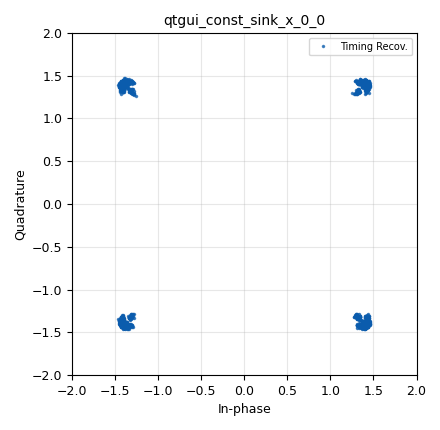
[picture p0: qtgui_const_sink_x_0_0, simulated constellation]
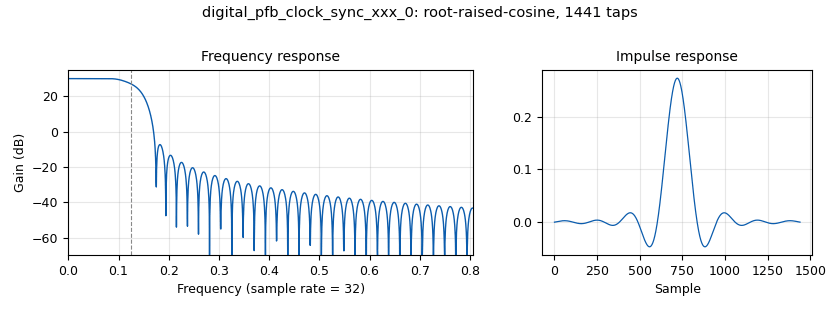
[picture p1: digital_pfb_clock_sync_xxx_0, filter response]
options:
  parameters:
    author: beast
    generate_options: qt_gui
    id: QAM_attempt
    output_language: python
    title: USRP TX 16QAM
  states: {}

blocks:
- name: arity
  id: variable
  parameters:
    value: '4'
  states: {}
- name: excess_bw
  id: variable
  parameters:
    value: '0.35'
  states: {}
- name: freq_offset
  id: variable_qtgui_range
  parameters:
    gui_hint: 0,1,1,1
    label: Frequency Offset
    start: '-0.1'
    step: '0.001'
    stop: '0.1'
    value: '0'
  states: {state: disabled}
- name: nfilts
  id: variable
  parameters:
    value: '32'
  states: {}
- name: noise_volt
  id: variable_qtgui_range
  parameters:
    gui_hint: 0,0,1,1
    label: Noise Voltage
    start: '0'
    step: '0.01'
    stop: '1'
    value: '0.0001'
  states: {state: disabled}
- name: qpsk
  id: variable_constellation_rect
  parameters:
    const_points: '[1+1j, -1+1j, -1-1j, 1-1j]'
    imag_sect: '2'
    real_sect: '2'
    rot_sym: '4'
    sym_map: '[0, 1, 2, 3]'
    w_imag_sect: '1'
    w_real_sect: '1'
  states: {state: disabled}
- name: rrc_taps
  id: variable
  parameters:
    value: firdes.root_raised_cosine(nfilts, nfilts, 1.0/float(sps), 0.35, 45*nfilts)
  states: {}
- name: samp_rate
  id: variable
  parameters:
    value: '32000'
  states: {}
- name: sps
  id: variable
  parameters:
    value: '4'
  states: {}
- name: taps
  id: variable
  parameters:
    value: '[1.0 + 0.0j, ]'
  states: {}
- name: time_offset
  id: variable_qtgui_range
  parameters:
    gui_hint: 0,2,1,1
    label: Timing Offset
    start: '0.999'
    step: '0.0001'
    stop: '1.001'
    value: '1.00'
  states: {state: disabled}
- name: timing_loop_bw
  id: variable_qtgui_range
  parameters:
    gui_hint: 0,3,1,1
    label: 'Time: BW'
    start: '0.0'
    step: '0.01'
    stop: '0.2'
    value: 6.28/100.0
    widget: slider
  states: {}
- name: variable_constellation_1
  id: variable_constellation
  parameters:
    precision: '8'
    type: qpsk
  states: {}
- name: variable_constellation_rect_0
  id: variable_constellation_rect
  parameters:
    const_points: '[-1-1j, -1+1j, 1+1j, 1-1j]'
    imag_sect: '2'
    real_sect: '2'
    rot_sym: '4'
    sym_map: '[0, 1, 3, 2]'
    w_imag_sect: '1'
    w_real_sect: '1'
  states: {state: disabled}
- name: analog_random_source_x_0
  id: analog_random_source_x
  parameters:
    max: '16'
    min: '0'
    num_samps: '10000'
    repeat: 'True'
    type: byte
  states: {}
- name: blocks_throttle2_0_0
  id: blocks_throttle2
  parameters:
    samples_per_second: samp_rate
    type: complex
  states: {state: disabled}
- name: digital_constellation_modulator_0
  id: digital_constellation_modulator
  parameters:
    constellation: variable_constellation_1
    differential: 'True'
    excess_bw: excess_bw
    samples_per_symbol: sps
  states: {}
- name: digital_pfb_clock_sync_xxx_0
  id: digital_pfb_clock_sync_xxx
  parameters:
    filter_size: nfilts
    init_phase: nfilts/2
    loop_bw: timing_loop_bw
    max_dev: '1.5'
    osps: '1'
    sps: sps*1.001
    taps: rrc_taps
    type: ccf
  states: {}
- name: digital_pfb_clock_sync_xxx_0_0
  id: digital_pfb_clock_sync_xxx
  parameters:
    filter_size: nfilts
    init_phase: nfilts/2
    loop_bw: timing_loop_bw
    max_dev: '1.5'
    osps: '1'
    sps: sps*1.001
    taps: rrc_taps
    type: ccf
  states: {state: disabled}
- name: note_0
  id: note
  parameters:
    note: pretty sure USRP will go in place of throttle
  states: {}
- name: qtgui_const_sink_x_0
  id: qtgui_const_sink_x
  parameters:
    alpha1: '0.5'
    gui_hint: 1,0,1,2
    label1: RX Data
    name: ''
    size: '2048'
    type: complex
  states: {state: disabled}
- name: qtgui_const_sink_x_0_0
  id: qtgui_const_sink_x
  parameters:
    alpha1: '0.5'
    gui_hint: 1,2,1,2
    label1: Timing Recov.
    name: ''
    size: '2048'
    type: complex
  states: {}
- name: qtgui_const_sink_x_0_1
  id: qtgui_const_sink_x
  parameters:
    alpha1: '0.5'
    gui_hint: 1,0,1,2
    label1: RX Data
    name: ''
    size: '2048'
    type: complex
  states: {state: disabled}
- name: qtgui_sink_x_0
  id: qtgui_sink_x
  parameters:
    bw: samp_rate
    fc: '0'
    fftsize: '2048'
    type: complex
  states: {state: disabled}
- name: qtgui_sink_x_0_0
  id: qtgui_sink_x
  parameters:
    bw: samp_rate
    fc: '0'
    fftsize: '2048'
    type: complex
  states: {state: disabled}
- name: uhd_usrp_sink_0
  id: uhd_usrp_sink
  parameters:
    ant0: '"TX/RX"'
    center_freq0: 500e6
    dev_addr: '"serial=3098A09"'
    gain0: '100'
    samp_rate: samp_rate
    sync: pc_clock
    type: fc32
  states: {}
- name: uhd_usrp_source_0
  id: uhd_usrp_source
  parameters:
    ant0: '"TX/RX"'
    center_freq0: 500e3
    dev_addr: '"serial=313FE2F"'
    gain0: '100'
    samp_rate: samp_rate
    sync: pc_clock
    type: fc32
  states: {state: disabled}

connections:
- [analog_random_source_x_0, '0', digital_constellation_modulator_0, '0']
- [blocks_throttle2_0_0, '0', digital_pfb_clock_sync_xxx_0_0, '0']
- [digital_constellation_modulator_0, '0', digital_pfb_clock_sync_xxx_0, '0']
- [digital_pfb_clock_sync_xxx_0, '0', qtgui_const_sink_x_0_0, '0']
- [digital_pfb_clock_sync_xxx_0, '0', qtgui_sink_x_0, '0']
- [digital_pfb_clock_sync_xxx_0, '0', uhd_usrp_sink_0, '0']
- [digital_pfb_clock_sync_xxx_0_0, '0', qtgui_const_sink_x_0_1, '0']
- [uhd_usrp_source_0, '0', blocks_throttle2_0_0, '0']

metadata:
  file_format: 1
  grc_version: 3.10.7.0
